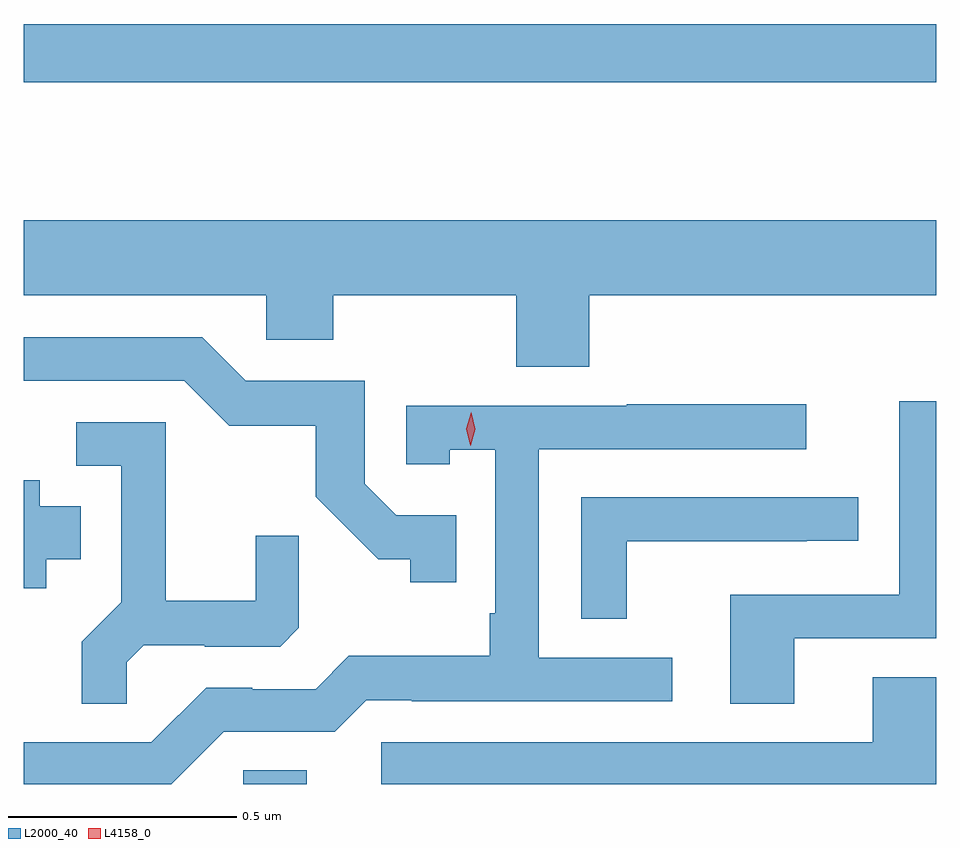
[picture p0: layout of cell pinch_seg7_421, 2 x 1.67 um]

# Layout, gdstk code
import gdstk
lib = gdstk.Library(unit=1e-6, precision=1e-09)
def R(c, l, rs):  # rectangles x0, y0, x1, y1
    for r in rs: c.add(gdstk.rectangle(r[:2], r[2:], *l))
def P(c, l, *ps):  # polygons
    for p in ps: c.add(gdstk.Polygon(p, *l))
L2000_40 = (2000, 40)
L4158_0 = (4158, 0)

pinch_seg7_421 = lib.new_cell('pinch_seg7_421')
R(pinch_seg7_421, L2000_40, [(541.356,1002.209,541.495,1002.239), (540.875,1003.746,542.875,1003.874)])
P(pinch_seg7_421, L2000_40, [(542.114,1003.28),(542.875,1003.28),(542.875,1003.444),(540.875,1003.444),(540.875,1003.28),(541.407,1003.28),(541.407,1003.182),(541.554,1003.182),(541.554,1003.28),(541.954,1003.28),(541.954,1003.123),(542.114,1003.123)],
  [(541.823,1002.798),(541.692,1002.798),(541.623,1002.867),(541.623,1003.092),(541.362,1003.092),(541.266,1003.188),(540.875,1003.188),(540.875,1003.092),(541.227,1003.092),(541.326,1002.994),(541.515,1002.994),(541.515,1002.838),(541.652,1002.701),(541.722,1002.701),(541.722,1002.651),(541.823,1002.651)],
  [(542.563,1002.528),(542.875,1002.528),(542.875,1003.048),(542.793,1003.048),(542.793,1002.624),(542.423,1002.624),(542.423,1002.385),(542.563,1002.385)],
  [(541.314,1002.324),(541.557,1002.324),(541.626,1002.393),(541.726,1002.393),(541.726,1002.39),(542.296,1002.39),(542.296,1002.486),(542.004,1002.486),(542.004,1002.942),(542.59,1002.942),(542.59,1003.041),(542.197,1003.041),(542.197,1003.038),(541.713,1003.038),(541.713,1002.909),(541.809,1002.909),(541.809,1002.941),(541.908,1002.941),(541.908,1002.583),(541.896,1002.583),(541.896,1002.49),(541.588,1002.49),(541.515,1002.417),(541.376,1002.417),(541.376,1002.42),(541.275,1002.42),(541.155,1002.3),(540.875,1002.3),(540.875,1002.209),(541.199,1002.209)],
  [(541.101,1002.476),(541.138,1002.513),(541.272,1002.513),(541.272,1002.51),(541.437,1002.51),(541.478,1002.551),(541.478,1002.753),(541.384,1002.753),(541.384,1002.61),(541.187,1002.61),(541.187,1003.002),(540.99,1003.002),(540.99,1002.906),(541.089,1002.906),(541.089,1002.607),(541.003,1002.521),(541.003,1002.385),(541.101,1002.385)],
  [(540.925,1002.701),(541,1002.701),(541,1002.817),(540.91,1002.817),(540.91,1002.874),(540.875,1002.874),(540.875,1002.638),(540.925,1002.638)],
  [(542.196,1002.741),(542.591,1002.741),(542.591,1002.742),(542.704,1002.742),(542.704,1002.837),(542.097,1002.837),(542.097,1002.571),(542.196,1002.571)],
  [(542.875,1002.443),(542.735,1002.443),(542.735,1002.3),(541.659,1002.3),(541.659,1002.209),(542.875,1002.209)])
P(pinch_seg7_421, L4158_0, [(541.855,1002.95),(541.854,1002.951),(541.845,1002.987),(541.856,1003.023),(541.856,1003.023),(541.856,1003.023),(541.865,1002.986),(541.855,1002.951)])

lib.write_gds('pinch_seg7_421.gds')
